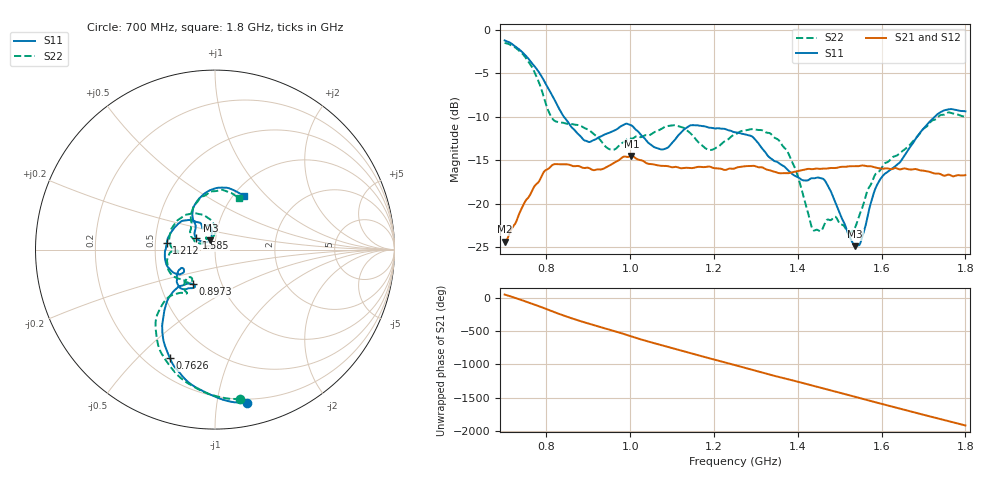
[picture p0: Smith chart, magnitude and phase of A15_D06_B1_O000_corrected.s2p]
! Created with skrf 1.9.0 (http://scikit-rf.org).
# Hz S RI R 50.0
!freq ReS11 ImS11 ReS21 ImS21 ReS12 ImS12 ReS22 ImS22
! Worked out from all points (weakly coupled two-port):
!   1601 points, 700 MHz to 1.8 GHz, reference 50 ohm
!   highest |S21| = -14.51 dB at 1.002 GHz (marker M1); lowest = -24.4 dB at 700 MHz (marker M2)
!   lowest |S11| = -24.9 dB at 1.537 GHz (marker M3), VSWR 1.12, Z = 47.3 + j4.83 ohm
!   |S11| at or under -10 dB: 841.7 MHz to 1.726 GHz (884.5 MHz wide, 68.9 % of centre)
!   |S22| runs from -23.4 to -1.5 dB; largest |S21 - S12| = 0.0035
!   S11 on the Smith chart (normalised r, x): 700 MHz: 0.17, -1.21; 762.6 MHz: 0.29, -0.63; 897.3 MHz: 0.73, -0.30; 1.212 GHz: 0.57, +0.05; 1.585 GHz: 0.80, +0.10; 1.8 GHz: 1.11, +0.76
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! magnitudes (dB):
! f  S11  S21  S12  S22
! 700 MHz  -1.2  -24.4  -24.1  -1.5
! 762.6 MHz  -3.7  -18.8  -18.8  -4.0
! 815.5 MHz  -7.7  -15.5  -15.6  -10.3
! 883.6 MHz  -12.4  -15.8  -15.7  -11.1
! 897.3 MHz  -12.8  -15.8  -15.9  -11.4
! 953.7 MHz  -11.8  -15.5  -15.5  -13.8
! 1.002 GHz  -11.0  -14.5  -14.6  -12.5
! 1.067 GHz  -13.7  -15.6  -15.5  -11.6
! 1.143 GHz  -11.0  -15.9  -15.9  -11.9
! 1.183 GHz  -11.2  -15.7  -15.8  -13.7
! 1.212 GHz  -11.3  -15.9  -15.9  -13.4
! 1.25 GHz  -11.8  -15.9  -15.8  -12.0
! 1.356 GHz  -15.4  -16.5  -16.4  -12.8
! 1.394 GHz  -16.8  -16.3  -16.3  -16.0
! 1.434 GHz  -17.1  -16.0  -16.0  -22.8
! 1.467 GHz  -17.5  -16.0  -15.9  -22.0
! 1.537 GHz  -24.9  -15.7  -15.7  -22.7
! 1.552 GHz  -24.1  -15.6  -15.6  -20.7
! 1.585 GHz  -18.2  -15.8  -15.8  -16.6
! 1.617 GHz  -16.2  -16.0  -15.9  -15.1
! 1.733 GHz  -9.7  -16.5  -16.6  -10.1
! 1.8 GHz  -9.4  -16.7  -16.7  -10.0
